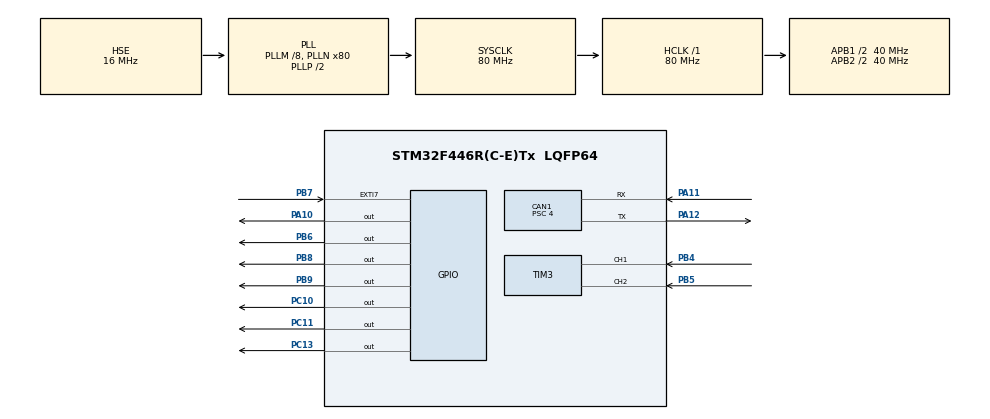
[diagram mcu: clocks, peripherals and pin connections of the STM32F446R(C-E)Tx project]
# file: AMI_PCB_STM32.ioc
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CAN1.BS1=CAN_BS1_8TQ
CAN1.CalculateBaudRate=1000000
CAN1.CalculateTimeBit=1000
CAN1.CalculateTimeQuantum=100.0
CAN1.NART=ENABLE
CAN1.Prescaler=4
Mcu.Family=STM32F4
Mcu.Name=STM32F446R(C-E)Tx
Mcu.Package=LQFP64
NVIC.CAN1_RX0_IRQn=true\:0\:0\:false\:false\:true\:true\:true\:true
NVIC.EXTI9_5_IRQn=true\:1\:0\:true\:false\:true\:true\:true\:true
NVIC.PriorityGroup=NVIC_PRIORITYGROUP_4
NVIC.TIM2_IRQn=true\:0\:0\:false\:false\:true\:true\:true\:true
PA10.Signal=GPIO_Output
PA11.Mode=CAN_Activate
PA11.Signal=CAN1_RX
PA12.Mode=CAN_Activate
PA12.Signal=CAN1_TX
PB4.Signal=S_TIM3_CH1
PB5.Signal=S_TIM3_CH2
PB6.Signal=GPIO_Output
PB7.GPIO_ModeDefaultEXTI=GPIO_MODE_IT_RISING
PB7.GPIO_PuPd=GPIO_PULLUP
PB7.Signal=GPXTI7
PB8.Signal=GPIO_Output
PB9.Signal=GPIO_Output
PC10.Signal=GPIO_Output
PC11.Signal=GPIO_Output
PC13.Signal=GPIO_Output
PH0-OSC_IN.Mode=HSE-External-Oscillator
PH0-OSC_IN.Signal=RCC_OSC_IN
PH1-OSC_OUT.Mode=HSE-External-Oscillator
PH1-OSC_OUT.Signal=RCC_OSC_OUT
ProjectManager.HeapSize=0x200
ProjectManager.StackSize=0x400
ProjectManager.TargetToolchain=STM32CubeIDE
RCC.AHBFreq_Value=80000000
RCC.APB1CLKDivider=RCC_HCLK_DIV2
RCC.APB1Freq_Value=40000000
RCC.APB1TimFreq_Value=80000000
RCC.APB2CLKDivider=RCC_HCLK_DIV2
RCC.APB2Freq_Value=40000000
RCC.APB2TimFreq_Value=80000000
RCC.CortexFreq_Value=80000000
RCC.HCLKFreq_Value=80000000
RCC.HSE_VALUE=16000000
RCC.PLLM=8
RCC.PLLN=80
RCC.PLLSourceVirtual=RCC_PLLSOURCE_HSE
RCC.SYSCLKFreq_VALUE=80000000
RCC.SYSCLKSource=RCC_SYSCLKSOURCE_PLLCLK
RCC.USBFreq_Value=80000000
RCC.VCOOutputFreq_Value=160000000
SH.S_TIM3_CH1.0=TIM3_CH1,Encoder_Interface
SH.S_TIM3_CH2.0=TIM3_CH2,Encoder_Interface
TIM2.Period=1400
TIM2.Prescaler=8000
TIM3.EncoderMode=TIM_ENCODERMODE_TI12
TIM3.IC1Filter=0
TIM3.IC2Filter=0
VP_TIM2_VS_ClockSourceINT.Mode=Internal
board=custom

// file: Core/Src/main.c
/* USER CODE BEGIN Header */
/**
 ******************************************************************************
 * @file           : main.c
 * @brief          : Main program body
 ******************************************************************************
 * @attention
 *
 * Copyright (c) 2024 STMicroelectronics.
 * All rights reserved.
 *
 * This software is licensed under terms that can be found in the LICENSE file
 * in the root directory of this software component.
 * If no LICENSE file comes with this software, it is provided AS-IS.
 *
 ******************************************************************************
 */
/* USER CODE END Header */
#include "main.h"

/* USER CODE BEGIN PTD */
int encoder_position = 0; //Encoder position
int encoder_zero = 0; //Position of encoder when we toggle (the new zero point)

//GPIO Pins for leds in index order (so LED 1 equals index 0)
GPIO_TypeDef *GPIO_Ports[] = { GPIOC, GPIOB, GPIOB, GPIOB, GPIOC, GPIOC, GPIOA };
uint16_t GPIO_Pins[] = { GPIO_PIN_13, GPIO_PIN_9, GPIO_PIN_8, GPIO_PIN_6,
GPIO_PIN_11, GPIO_PIN_10, GPIO_PIN_10 };

//For LED pulsing case
int led_cursor_idx = 1; // Which pin to pulse LED on?
int led_cursor_flag = 0; // Are we pulsing an LED (0 - no, 1 - slow, 2 - fast)

//Modes
int selection_mode = 0;
int selection_allowed = 1;

//Current led index (index of solid LED, must start at 1)
int led_idx = 1;

//Last interrupt time for debouncing button
volatile uint32_t last_interrupt_time = 0;

//The current mission selected, only the Jetson can update this
uint8_t missionSelected = 1;

//The current AS state, only other devices on the CAN bus can update this
uint8_t globalASState = 0;

int jetson_wait_flag = 0;

/* USER CODE END PTD */

CAN_HandleTypeDef hcan1;

TIM_HandleTypeDef htim2;
TIM_HandleTypeDef htim3;

void SystemClock_Config(void);
static void MX_GPIO_Init(void);
static void MX_TIM3_Init(void);
static void MX_CAN1_Init(void);
static void MX_TIM2_Init(void);
/* USER CODE BEGIN PFP */
void updateEncoders(void);
void switchLED(int ledId, int state);
void sendMission(int mission);
void HAL_TIM_PeriodElapsedCallback(TIM_HandleTypeDef *htim);
/* USER CODE END PFP */

int main(void)
{

  /* MCU Configuration--------------------------------------------------------*/

  /* Reset of all peripherals, Initializes the Flash interface and the Systick. */
  HAL_Init();

  /* Configure the system clock */
  SystemClock_Config();

  /* Initialize all configured peripherals */
  MX_GPIO_Init();
  MX_TIM3_Init();
  MX_CAN1_Init();
  MX_TIM2_Init();
  HAL_CAN_Start(&hcan1);
  /* USER CODE BEGIN 2 */
	//Set systick priority
	HAL_NVIC_SetPriority(SysTick_IRQn, 0, 0);

	if (HAL_CAN_ActivateNotification(&hcan1, CAN_IT_RX_FIFO0_MSG_PENDING)
			!= HAL_OK) {
		Error_Handler();
	}

  /* USER CODE END 2 */

  /* Infinite loop */
  /* USER CODE BEGIN WHILE */

	while (1) {
		updateEncoders();
		//Check if we are selecting
		if (selection_mode == 1 && jetson_wait_flag == 0) {
			//We are using a cursor
			led_cursor_flag = 1;

			//Set cursor index
			int normalised_encoder_pos = encoder_position - encoder_zero;
			if (normalised_encoder_pos < 10) {
				led_cursor_idx = 1;
				//Stop the encoder from spinning crazy one way
				//and taking ages to recover
				if (normalised_encoder_pos < 0) {
					//Should work for wraparound
					encoder_zero = encoder_position-70;
				}
			} else if (normalised_encoder_pos < 20) {
				led_cursor_idx = 2;
			} else if (normalised_encoder_pos < 30) {
				led_cursor_idx = 3;
			} else if (normalised_encoder_pos < 40) {
				led_cursor_idx = 4;
			} else if (normalised_encoder_pos < 50) {
				led_cursor_idx = 5;
			} else if (normalised_encoder_pos < 60) {
				led_cursor_idx = 6;
			} else {
				led_cursor_idx = 7;
				if (normalised_encoder_pos > 70) {
					//Should work for wraparound
					encoder_zero = encoder_position;
				}
			}
			//So long as the selected LED is not the cursor, turn it on solid
			if (led_idx != led_cursor_idx) {
				switchLED(led_idx, 1);
			}

			//Turn everything but the cursor and selected led
			for (int i = 1; i <= 7; i++) {
				if (i != led_idx && i != led_cursor_idx) {
					switchLED(i, 0);
				}
			}
		} else if (jetson_wait_flag == 0) {
			//Turn off cursor
			led_cursor_flag = 0;
			//Turn the current LED on solid
			switchLED(led_idx, 1);
			//Turn everything else off
			for (int i = 1; i <= 7; i++) {
				if (i != led_idx) {
					switchLED(i, 0);
				}
			}
		}
    /* USER CODE END WHILE */

	}
}

void SystemClock_Config(void)
{
  RCC_OscInitTypeDef RCC_OscInitStruct = {0};
  RCC_ClkInitTypeDef RCC_ClkInitStruct = {0};

  /** Configure the main internal regulator output voltage
  */
  __HAL_RCC_PWR_CLK_ENABLE();
  __HAL_PWR_VOLTAGESCALING_CONFIG(PWR_REGULATOR_VOLTAGE_SCALE3);

  /** Initializes the RCC Oscillators according to the specified parameters
  * in the RCC_OscInitTypeDef structure.
  */
  RCC_OscInitStruct.OscillatorType = RCC_OSCILLATORTYPE_HSE;
  RCC_OscInitStruct.HSEState = RCC_HSE_ON;
  RCC_OscInitStruct.PLL.PLLState = RCC_PLL_ON;
  RCC_OscInitStruct.PLL.PLLSource = RCC_PLLSOURCE_HSE;
  RCC_OscInitStruct.PLL.PLLM = 8;
  RCC_OscInitStruct.PLL.PLLN = 80;
  RCC_OscInitStruct.PLL.PLLP = RCC_PLLP_DIV2;
  RCC_OscInitStruct.PLL.PLLQ = 2;
  RCC_OscInitStruct.PLL.PLLR = 2;
  if (HAL_RCC_OscConfig(&RCC_OscInitStruct) != HAL_OK)
  {
    Error_Handler();
  }

  /** Initializes the CPU, AHB and APB buses clocks
  */
  RCC_ClkInitStruct.ClockType = RCC_CLOCKTYPE_HCLK|RCC_CLOCKTYPE_SYSCLK
                              |RCC_CLOCKTYPE_PCLK1|RCC_CLOCKTYPE_PCLK2;
  RCC_ClkInitStruct.SYSCLKSource = RCC_SYSCLKSOURCE_PLLCLK;
  RCC_ClkInitStruct.AHBCLKDivider = RCC_SYSCLK_DIV1;
  RCC_ClkInitStruct.APB1CLKDivider = RCC_HCLK_DIV2;
  RCC_ClkInitStruct.APB2CLKDivider = RCC_HCLK_DIV2;

  if (HAL_RCC_ClockConfig(&RCC_ClkInitStruct, FLASH_LATENCY_2) != HAL_OK)
  {
    Error_Handler();
  }
}

static void MX_CAN1_Init(void)
{

  hcan1.Instance = CAN1;
  hcan1.Init.Prescaler = 4;
  hcan1.Init.Mode = CAN_MODE_NORMAL;
  hcan1.Init.SyncJumpWidth = CAN_SJW_1TQ;
  hcan1.Init.TimeSeg1 = CAN_BS1_8TQ;
  hcan1.Init.TimeSeg2 = CAN_BS2_1TQ;
  hcan1.Init.TimeTriggeredMode = DISABLE;
  hcan1.Init.AutoBusOff = DISABLE;
  hcan1.Init.AutoWakeUp = DISABLE;
  hcan1.Init.AutoRetransmission = ENABLE;
  hcan1.Init.ReceiveFifoLocked = DISABLE;
  hcan1.Init.TransmitFifoPriority = DISABLE;
  if (HAL_CAN_Init(&hcan1) != HAL_OK)
  {
    Error_Handler();
  }
  /* USER CODE BEGIN CAN1_Init 2 */
  CAN_FilterTypeDef canfilterconfig;
  canfilterconfig.FilterActivation = CAN_FILTER_ENABLE;
  canfilterconfig.FilterBank = 18;  // which filter bank to use from the assigned ones
  canfilterconfig.FilterFIFOAssignment = CAN_FILTER_FIFO0;
  canfilterconfig.FilterIdHigh = 0x000<<5;
  canfilterconfig.FilterIdLow = 0;
  canfilterconfig.FilterMaskIdHigh = 0x000<<5;
  canfilterconfig.FilterMaskIdLow = 0x0000;
  canfilterconfig.FilterMode = CAN_FILTERMODE_IDMASK;
  canfilterconfig.FilterScale = CAN_FILTERSCALE_32BIT;
  canfilterconfig.SlaveStartFilterBank = 20;  // how many filters to assign to the CAN1 (master can)
  HAL_CAN_ConfigFilter(&hcan1, &canfilterconfig);
  /* USER CODE END CAN1_Init 2 */

}

static void MX_TIM2_Init(void)
{

  TIM_ClockConfigTypeDef sClockSourceConfig = {0};
  TIM_MasterConfigTypeDef sMasterConfig = {0};

  htim2.Instance = TIM2;
  htim2.Init.Prescaler = 8000;
  htim2.Init.CounterMode = TIM_COUNTERMODE_UP;
  htim2.Init.Period = 1400;
  htim2.Init.ClockDivision = TIM_CLOCKDIVISION_DIV1;
  htim2.Init.AutoReloadPreload = TIM_AUTORELOAD_PRELOAD_DISABLE;
  if (HAL_TIM_Base_Init(&htim2) != HAL_OK)
  {
    Error_Handler();
  }
  sClockSourceConfig.ClockSource = TIM_CLOCKSOURCE_INTERNAL;
  if (HAL_TIM_ConfigClockSource(&htim2, &sClockSourceConfig) != HAL_OK)
  {
    Error_Handler();
  }
  sMasterConfig.MasterOutputTrigger = TIM_TRGO_RESET;
  sMasterConfig.MasterSlaveMode = TIM_MASTERSLAVEMODE_DISABLE;
  if (HAL_TIMEx_MasterConfigSynchronization(&htim2, &sMasterConfig) != HAL_OK)
  {
    Error_Handler();
  }
  /* USER CODE BEGIN TIM2_Init 2 */
	// Start timer 2 (LED Pulse timer)
	HAL_TIM_Base_Start_IT(&htim2);
  /* USER CODE END TIM2_Init 2 */

}

static void MX_TIM3_Init(void)
{

  TIM_Encoder_InitTypeDef sConfig = {0};
  TIM_MasterConfigTypeDef sMasterConfig = {0};

  htim3.Instance = TIM3;
  htim3.Init.Prescaler = 0;
  htim3.Init.CounterMode = TIM_COUNTERMODE_UP;
  htim3.Init.Period = 65535;
  htim3.Init.ClockDivision = TIM_CLOCKDIVISION_DIV1;
  htim3.Init.AutoReloadPreload = TIM_AUTORELOAD_PRELOAD_DISABLE;
  sConfig.EncoderMode = TIM_ENCODERMODE_TI12;
  sConfig.IC1Polarity = TIM_ICPOLARITY_RISING;
  sConfig.IC1Selection = TIM_ICSELECTION_DIRECTTI;
  sConfig.IC1Prescaler = TIM_ICPSC_DIV1;
  sConfig.IC1Filter = 0;
  sConfig.IC2Polarity = TIM_ICPOLARITY_RISING;
  sConfig.IC2Selection = TIM_ICSELECTION_DIRECTTI;
  sConfig.IC2Prescaler = TIM_ICPSC_DIV1;
  sConfig.IC2Filter = 0;
  if (HAL_TIM_Encoder_Init(&htim3, &sConfig) != HAL_OK)
  {
    Error_Handler();
  }
  sMasterConfig.MasterOutputTrigger = TIM_TRGO_RESET;
  sMasterConfig.MasterSlaveMode = TIM_MASTERSLAVEMODE_DISABLE;
  if (HAL_TIMEx_MasterConfigSynchronization(&htim3, &sMasterConfig) != HAL_OK)
  {
    Error_Handler();
  }
  /* USER CODE BEGIN TIM3_Init 2 */
	// Start timer (encoder mode)
	HAL_TIM_Encoder_Start(&htim3, TIM_CHANNEL_ALL);
  /* USER CODE END TIM3_Init 2 */

}

static void MX_GPIO_Init(void)
{
  GPIO_InitTypeDef GPIO_InitStruct = {0};

  /* GPIO Ports Clock Enable */
  __HAL_RCC_GPIOC_CLK_ENABLE();
  __HAL_RCC_GPIOH_CLK_ENABLE();
  __HAL_RCC_GPIOA_CLK_ENABLE();
  __HAL_RCC_GPIOB_CLK_ENABLE();

  /*Configure GPIO pin Output Level */
  HAL_GPIO_WritePin(GPIOC, GPIO_PIN_13|GPIO_PIN_10|GPIO_PIN_11, GPIO_PIN_RESET);

  /*Configure GPIO pin Output Level */
  HAL_GPIO_WritePin(GPIOA, GPIO_PIN_10, GPIO_PIN_RESET);

  /*Configure GPIO pin Output Level */
  HAL_GPIO_WritePin(GPIOB, GPIO_PIN_6|GPIO_PIN_8|GPIO_PIN_9, GPIO_PIN_RESET);

  /*Configure GPIO pins : PC13 PC10 PC11 */
  GPIO_InitStruct.Pin = GPIO_PIN_13|GPIO_PIN_10|GPIO_PIN_11;
  GPIO_InitStruct.Mode = GPIO_MODE_OUTPUT_PP;
  GPIO_InitStruct.Pull = GPIO_NOPULL;
  GPIO_InitStruct.Speed = GPIO_SPEED_FREQ_LOW;
  HAL_GPIO_Init(GPIOC, &GPIO_InitStruct);

  /*Configure GPIO pin : PA10 */
  GPIO_InitStruct.Pin = GPIO_PIN_10;
  GPIO_InitStruct.Mode = GPIO_MODE_OUTPUT_PP;
  GPIO_InitStruct.Pull = GPIO_NOPULL;
  GPIO_InitStruct.Speed = GPIO_SPEED_FREQ_LOW;
  HAL_GPIO_Init(GPIOA, &GPIO_InitStruct);

  /*Configure GPIO pins : PB6 PB8 PB9 */
  GPIO_InitStruct.Pin = GPIO_PIN_6|GPIO_PIN_8|GPIO_PIN_9;
  GPIO_InitStruct.Mode = GPIO_MODE_OUTPUT_PP;
  GPIO_InitStruct.Pull = GPIO_NOPULL;
  GPIO_InitStruct.Speed = GPIO_SPEED_FREQ_LOW;
  HAL_GPIO_Init(GPIOB, &GPIO_InitStruct);

  /*Configure GPIO pin : PB7 */
  GPIO_InitStruct.Pin = GPIO_PIN_7;
  GPIO_InitStruct.Mode = GPIO_MODE_IT_RISING;
  GPIO_InitStruct.Pull = GPIO_PULLUP;
  HAL_GPIO_Init(GPIOB, &GPIO_InitStruct);

  /* EXTI interrupt init*/
  HAL_NVIC_SetPriority(EXTI9_5_IRQn, 1, 0);
  HAL_NVIC_EnableIRQ(EXTI9_5_IRQn);

}

/* USER CODE BEGIN 4 */

void HAL_CAN_RxFifo0MsgPendingCallback(CAN_HandleTypeDef *hcan) {
	CAN_RxHeaderTypeDef rxHeader;
	uint8_t rxData[8];
	if (HAL_CAN_GetRxMessage(hcan, CAN_RX_FIFO0, &rxHeader, rxData) != HAL_OK) {
		//Error reading CAN
		Error_Handler();
	}
	if ((rxHeader.StdId == 1298)) {
		// Read in Mission_Selected
		uint8_t x  = (rxData[0] & 0b00111000) >> 3;
		missionSelected = x;

	} else if (rxHeader.StdId == 1300) {
		// Read in AS_State
		uint8_t x  = (rxData[0] & 0b00011100) >> 2;
		if (x == 0) {
			selection_allowed = 1;
		}
		else {
			selection_allowed = 0;
		}
	}
}

//Timer callback
void HAL_TIM_PeriodElapsedCallback(TIM_HandleTypeDef *htim) {
	// Check which version of the timer triggered this callback and toggle LED
	if (htim == &htim2) {
		//Check if we are using a cursor (at speed 1, the slower speed, trigged on Timer 2)
		if (led_cursor_flag == 1) {
			//Toggle the cursor LED on/off
			HAL_GPIO_TogglePin(GPIO_Ports[led_cursor_idx - 1],
					GPIO_Pins[led_cursor_idx - 1]);
		}
	}
}

//Button press callback, theres only one of these so we don't need to check pin
void HAL_GPIO_EXTI_Callback(uint16_t GPIO_Pin) {
	//Software debouncing + ensure button is actually high, to prevent unintentional queuing of interrupt
	if (HAL_GetTick() - last_interrupt_time > 200 && HAL_GPIO_ReadPin(GPIOB, GPIO_PIN_7) == GPIO_PIN_SET) {
		last_interrupt_time = HAL_GetTick();
		//Check if either selection allowed or if we are
		//already in mode, enter anyway so it can be turned off
		if (selection_allowed == 1 || selection_mode == 1) {
			//Turn off selection mode
			if (selection_mode == 1) {
				//Set mission selected to 0 whilst we wait
				//missionSelected = 255;
				jetson_wait_flag = 1;
				led_cursor_flag = 0;
				//Send mission to Jetson
				sendMission(led_cursor_idx);
				//Wait for mission to be selected
				while (missionSelected != led_cursor_idx) {
					HAL_GPIO_TogglePin(GPIO_Ports[led_cursor_idx - 1],
							GPIO_Pins[led_cursor_idx - 1]);
					HAL_Delay(50);
				}
				jetson_wait_flag = 0;
				selection_mode = 0; //Turn off selection mode
				led_idx = missionSelected; //Lock in the new solid LED index
			}
			//Turn on selection mode
			else {
				encoder_zero = encoder_position - 10 * (led_idx - 1); //Zero encoder considering position/current LED
				selection_mode = 1;
			}
		}
	}
}

//Reads latest encoder values
void updateEncoders(void) {
	//Deal with unsigned int wraparound, it would be
	//genuinely impressive for monkey to spin this thing high
	//enough for me to care
	if (TIM3->CNT > 32768) {
		encoder_position = TIM3->CNT - 65535;
	} else {
		encoder_position = TIM3->CNT;
	}
}

//Switch led taking index 1-7 and state 0 or 1
void switchLED(int ledId, int state) {
	if (ledId >= 1 && ledId <= 7) {
		HAL_GPIO_WritePin(GPIO_Ports[ledId - 1], GPIO_Pins[ledId - 1],
				state == 1 ? GPIO_PIN_SET : GPIO_PIN_RESET);
	}
}

// Function to send the mission data over CAN
void sendMission(int mission) {
	// Ensure the mission value fits within 3 bits (0 to 7)
	uint8_t selected_mission = mission & 0x07; // Mask to 3 bits

	// Create a CAN message
	CAN_TxHeaderTypeDef TxHeader;
	uint8_t TxData[1];  // Message length is 1 byte
	uint32_t TxMailbox;

	// Configure the CAN message ID and DLC
	TxHeader.StdId = 0x520;        // Standard ID (message ID from DBC)
	TxHeader.ExtId = 0x00;          // Extended ID not used
	TxHeader.IDE = CAN_ID_STD;      // Standard identifier
	TxHeader.RTR = CAN_RTR_DATA;    // Data frame
	TxHeader.DLC = 1;               // Data length code (1 byte)
	TxHeader.TransmitGlobalTime = DISABLE;

	// Prepare the data to send
	TxData[0] = selected_mission;

	// Send the CAN message
	if (HAL_CAN_AddTxMessage(&hcan1, &TxHeader, TxData, &TxMailbox) != HAL_OK) {
		// Transmission error
		Error_Handler();
	}
}

/* USER CODE END 4 */

void Error_Handler(void)
{
	__disable_irq();
}
